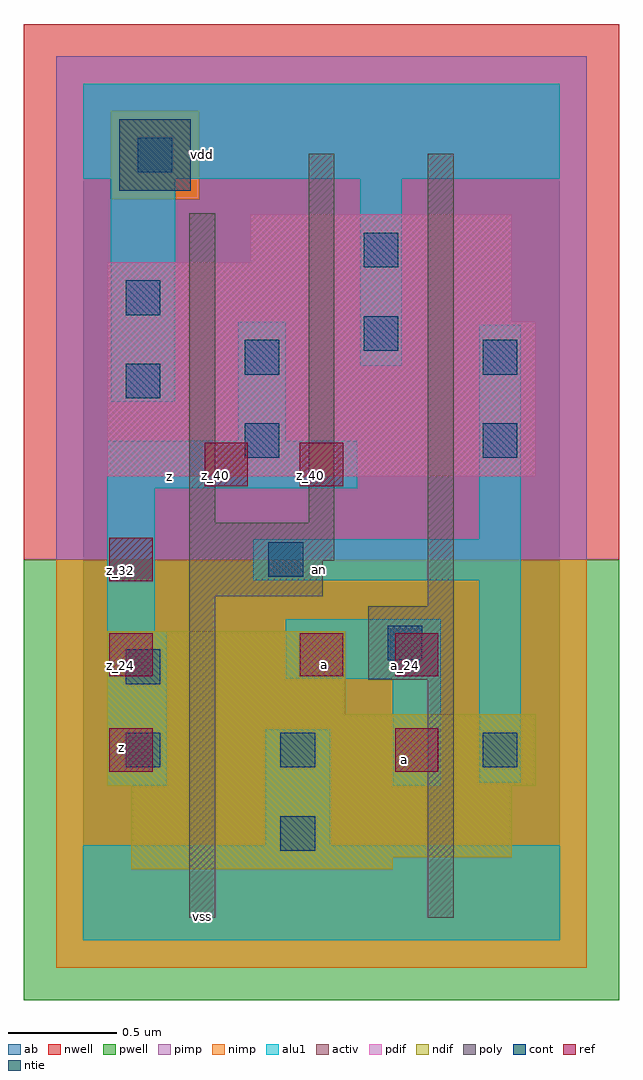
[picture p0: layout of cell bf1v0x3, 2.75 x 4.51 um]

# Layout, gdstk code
import gdstk
lib = gdstk.Library(unit=1e-6, precision=2.5e-09)
def R(c, l, rs):  # rectangles x0, y0, x1, y1
    for r in rs: c.add(gdstk.rectangle(r[:2], r[2:], *l))
def A(c, l, x, y, w, h, nx, ny, dx, dy):  # array of equal rectangles
    R(c, l, [(x+i*dx, y+j*dy, x+i*dx+w, y+j*dy+h) for i in range(nx) for j in range(ny)])
ndif = (3, 0)
pdif = (4, 0)
ntie = (5, 0)
ref = (24, 0)
cont = (25, 0)
pwell = (41, 0)
nwell = (42, 0)
activ = (43, 0)
pimp = (44, 0)
nimp = (45, 0)
poly = (46, 0)
alu1 = (49, 0)
ab = (63, 0)

bf1v0x3 = lib.new_cell('bf1v0x3')
R(bf1v0x3, ndif, [(0.22,0.33,1.43,0.385), (0.22,0.385,1.98,0.715), (0.11,0.715,2.09,1.045), (0.11,1.045,1.21,1.43)])
R(bf1v0x3, pdif, [(0.11,2.145,2.09,2.86), (0.11,2.86,1.98,3.135), (0.77,3.135,1.98,3.355)])
R(bf1v0x3, ntie, [(0.165,3.465,0.495,3.795)])
A(bf1v0x3, ref, 0.12, 0.78, 0.2, 0.2, 1, 3, 0, 0.44)
R(bf1v0x3, ref, [(1.44,0.78,1.64,0.98), (1,1.22,1.2,1.42), (1.44,1.22,1.64,1.42), (0.56,2.1,0.76,2.3), (1,2.1,1.2,2.3)])
R(bf1v0x3, cont, [(0.91,0.415,1.07,0.575), (0.195,0.8,0.355,0.96), (0.91,0.8,1.07,0.96), (1.845,0.8,2.005,0.96), (0.195,1.185,0.355,1.345), (1.405,1.295,1.565,1.455), (0.855,1.68,1.015,1.84), (0.745,2.23,0.905,2.39), (1.845,2.23,2.005,2.39), (0.195,2.505,0.355,2.665), (0.745,2.615,0.905,2.775), (1.845,2.615,2.005,2.775), (1.295,2.725,1.455,2.885), (0.195,2.89,0.355,3.05), (1.295,3.11,1.455,3.27), (0.25,3.55,0.41,3.71)])
R(bf1v0x3, pwell, [(-0.275,-0.275,2.475,1.76)])
R(bf1v0x3, nwell, [(-0.275,1.76,2.475,4.235)])
R(bf1v0x3, activ, [(0.22,0.33,1.43,0.385), (0.22,0.385,1.98,0.715), (0.11,0.715,2.09,1.045), (0.11,1.045,1.21,1.43), (0.11,2.145,2.09,2.86), (0.11,2.86,1.98,3.135), (0.77,3.135,1.98,3.355), (0.165,3.465,0.495,3.795)])
R(bf1v0x3, pimp, [(-0.125,1.76,2.325,3.425), (-0.125,3.425,0.125,3.835), (0.535,3.425,2.325,3.835), (-0.125,3.835,2.325,4.085)])
R(bf1v0x3, nimp, [(-0.125,-0.125,2.325,1.76), (0.125,3.425,0.535,3.835)])
R(bf1v0x3, poly, [(0.49,0.105,0.61,1.59), (1.59,0.105,1.71,1.205), (1.315,1.205,1.71,1.545), (1.59,1.545,1.71,3.635), (0.49,1.59,1.105,1.755), (0.49,1.755,1.16,1.93), (0.49,1.93,0.61,3.36), (1.04,1.93,1.16,3.635)])
R(bf1v0x3, alu1, [(0,0,2.2,0.44), (0.84,0.44,1.14,0.975), (0.11,0.715,0.385,1.43), (1.43,0.715,1.65,1.21), (1.83,0.73,2.02,1.665), (0.935,1.21,1.65,1.485), (0.11,1.43,0.33,2.09), (0.785,1.665,2.02,1.855), (1.83,1.855,2.02,2.845), (0.11,2.09,1.265,2.31), (0.715,2.31,0.935,2.86), (0.125,2.49,0.425,3.52), (1.28,2.655,1.47,3.52), (0,3.52,2.2,3.96)])
R(bf1v0x3, ab, [(0,0,2.2,3.96)])
bf1v0x3.add(gdstk.Label('vss', (0.55,0.11), layer=49, texttype=0))
bf1v0x3.add(gdstk.Label('a', (1.485,0.8375), layer=49, texttype=0))
bf1v0x3.add(gdstk.Label('a', (1.1125,1.2775), layer=49, texttype=0))
bf1v0x3.add(gdstk.Label('z', (0.1775,0.8925), layer=49, texttype=0))
bf1v0x3.add(gdstk.Label('an', (1.0925,1.7125), layer=49, texttype=0))
bf1v0x3.add(gdstk.Label('z', (0.3975,2.145), layer=49, texttype=0))
bf1v0x3.add(gdstk.Label('vdd', (0.55,3.63), layer=49, texttype=0))
bf1v0x3.add(gdstk.Label('z_32', (0.17,1.71), layer=24, texttype=0))
bf1v0x3.add(gdstk.Label('z_24', (0.17,1.27), layer=24, texttype=0))
bf1v0x3.add(gdstk.Label('z_16', (0.17,0.83), layer=24, texttype=0))
bf1v0x3.add(gdstk.Label('a_24', (1.49,1.27), layer=24, texttype=0))
bf1v0x3.add(gdstk.Label('a_16', (1.49,0.83), layer=24, texttype=0))
bf1v0x3.add(gdstk.Label('z_40', (1.05,2.15), layer=24, texttype=0))
bf1v0x3.add(gdstk.Label('a_24', (1.05,1.27), layer=24, texttype=0))
bf1v0x3.add(gdstk.Label('z_40', (0.61,2.15), layer=24, texttype=0))

lib.write_gds('bf1v0x3.gds')
